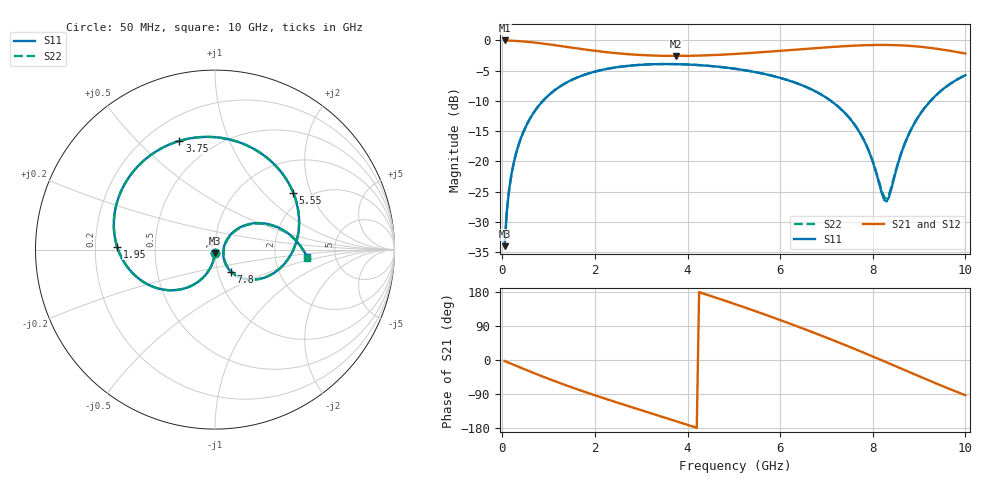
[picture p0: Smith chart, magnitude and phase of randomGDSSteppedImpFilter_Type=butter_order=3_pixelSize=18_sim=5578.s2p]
! freq	dB(S11)	phase(S11)	dB(S12)	phase(S12)
!  dB(S21)	phase(S21)	dB(S22)	phase(S22)
!S-par simulation data
#  GHz  S  DB  R 50
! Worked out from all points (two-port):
!   200 points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, 50 MHz to 10 GHz, reference 50 ohm
!   highest |S21| = 0.00 dB at 50 MHz (marker M1); lowest = -2.6 dB at 3.75 GHz (marker M2)
!   |S21| within 3 dB of the highest: start of sweep to end of sweep
!   lowest |S11| = -34.0 dB at 50 MHz (marker M3), VSWR 1.04, Z = 49.9 - j1.99 ohm
!   |S11| at or under -10 dB: start of sweep to 877 MHz; 7.098 GHz to 9.247 GHz (2.149 GHz wide, 26.3 % of centre)
!   |S22| runs from -34.0 to -3.9 dB; largest |S21 - S12| = 0
!   S11 on the Smith chart (normalised r, x): 50 MHz: 1.00, -0.04; 1.95 GHz: 0.29, +0.01; 3.75 GHz: 0.33, +0.67; 5.55 GHz: 1.69, +1.51; 7.8 GHz: 1.16, -0.29; 10 GHz: 3.08, -0.37
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0.05  -34.01 -92.7  -0.00 -2.6  -0.00 -2.6  -34.01 -92.6
0.1  -28.00 -95.4  -0.01 -5.2  -0.01 -5.2  -28.00 -95.4
0.2  -22.04 -100.8  -0.04 -10.3  -0.04 -10.3  -22.04 -100.8
0.5  -14.36 -116.1  -0.20 -25.5  -0.20 -25.5  -14.36 -116.1
1.1  -8.41 -144.9  -0.75 -54.3  -0.75 -54.3  -8.41 -144.9
1.75  -5.74 -173.5  -1.46 -82.8  -1.46 -82.8  -5.74 -173.5
1.95  -5.26 178.2  -1.67 -91.1  -1.67 -91.1  -5.26 178.2
2.65  -4.25 150.4  -2.23 -118.9  -2.23 -118.9  -4.25 150.4
3.4  -3.91 121.6  -2.53 -147.8  -2.53 -147.8  -3.91 121.6
3.75  -3.92 108.1  -2.56 -161.3  -2.56 -161.3  -3.92 108.2
5.05  -4.71 56.7  -2.22 146.5  -2.22 146.5  -4.71 56.8
5.55  -5.37 36.1  -1.97 125.2  -1.97 125.2  -5.36 36.2
6.15  -6.53 10.7  -1.63 98.7  -1.63 98.7  -6.53 10.9
6.7  -8.18 -12.9  -1.31 73.4  -1.31 73.4  -8.18 -12.6
7.25  -10.92 -35.9  -1.02 47.0  -1.02 47.0  -10.91 -35.5
7.8  -16.37 -54.1  -0.80 19.5  -0.80 19.5  -16.33 -53.2
8.25  -26.39 -18.0  -0.74 -3.7  -0.74 -3.7  -25.91 -17.2
8.35  -25.90 14.4  -0.75 -8.9  -0.75 -8.9  -25.45 13.1
8.65  -17.90 44.1  -0.83 -24.7  -0.83 -24.7  -17.83 42.9
8.95  -13.04 38.4  -0.99 -40.5  -0.99 -40.5  -13.02 37.6
9.45  -8.48 18.7  -1.45 -66.2  -1.45 -66.2  -8.47 18.3
10  -5.75 -4.9  -2.16 -92.9  -2.16 -92.9  -5.74 -5.2
